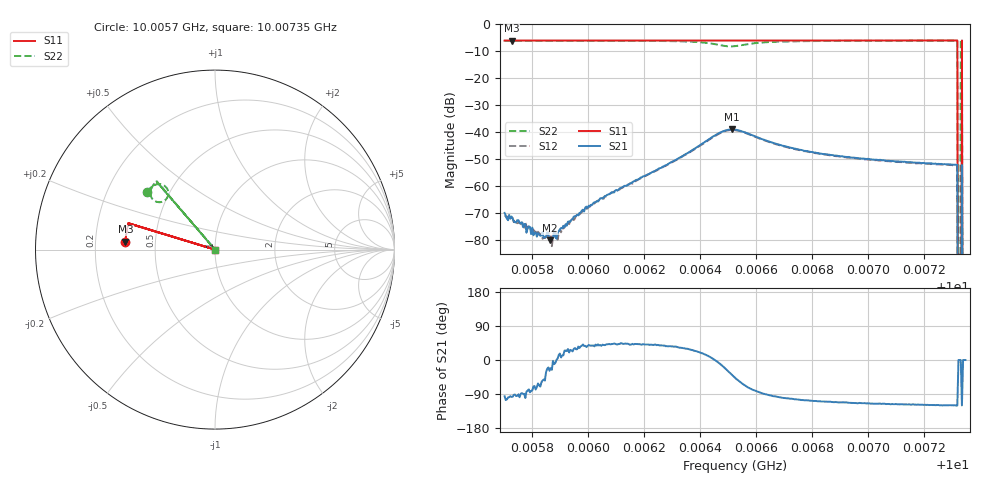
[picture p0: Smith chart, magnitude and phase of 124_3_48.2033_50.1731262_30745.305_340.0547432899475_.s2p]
#  HZ  S  RI  R  50.00
! Rohde & Schwarz Vector Network Analyzer
! Rohde-Schwarz,ZNB20-2Port,1311601062101988,3.16
! Created: UTC 3/20/2024, 11:41:38 AM
! freq[Hz]  re:S11  im:S11  re:S21  im:S21  re:S12  im:S12  re:S22  im:S22
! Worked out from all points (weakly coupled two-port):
!   401 points, 10.0057 GHz to 10.00735 GHz, reference 50 ohm
!   highest |S21| = -38.92 dB at 10.00651 GHz (marker M1); lowest = -80.0 dB at 10.00586 GHz (marker M2)
!   lowest |S11| = -6.0 dB at 10.00573 GHz (marker M3), VSWR 3.01, Z = 16.7 + j1.99 ohm
!   |S11| at or under -10 dB: 10.00732 GHz to 10.00734 GHz (16.3 kHz wide, 0.000163 % of centre); 10.00734 GHz to end of sweep
!   |S22| runs from - to -6.0 dB; largest |S21 - S12| = 0.00068
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1.0005701e10  -0.4992 0.0432  -3.2e-05 -0.000319  -2.93e-05 -0.000286  -0.3812 0.3195
1.0005726e10  -0.499 0.0447  -3.6e-05 -0.000274  -1.36e-06 -0.000258  -0.38 0.3208
1.0005812e10  -0.4987 0.0504  2.91e-05 -0.000136  5.62e-05 -0.000133  -0.3756 0.3263
1.0005845e10  -0.4985 0.0526  6.59e-05 -9.14e-05  8.83e-05 -6.54e-05  -0.3739 0.3284
1.0005862e10  -0.4986 0.0537  8.84e-05 -4.78e-05  8.95e-05 -4.71e-05  -0.373 0.3295
1.0005895e10  -0.4982 0.0558  0.000144 3.49e-05  0.000127 4.02e-05  -0.371 0.3316
1.0005977e10  -0.4978 0.061  0.000282 0.000215  0.000257 0.000208  -0.366 0.3371
1.000608e10  -0.4971 0.0678  0.000558 0.000489  0.000526 0.000516  -0.3587 0.3446
1.0006253e10  -0.4957 0.0791  0.00167 0.00135  0.00155 0.00138  -0.3391 0.3582
1.0006467e10  -0.4929 0.0927  0.00957 -0.00131  0.00938 -0.000817  -0.2611 0.3255
1.0006512e10  -0.4923 0.095  0.00888 -0.00703  0.00903 -0.00639  -0.2782 0.2752
1.0006525e10  -0.4924 0.0956  0.00766 -0.00815  0.00793 -0.00757  -0.2916 0.2674
1.00068e10  -0.4901 0.1133  -0.00131 -0.00412  -0.00111 -0.00407  -0.3557 0.3391
1.0007076e10  -0.4865 0.131  -0.00131 -0.00265  -0.00118 -0.00266  -0.3396 0.3649
1.0007311e10  -0.4828 0.1455  -0.00124 -0.00219  -0.00113 -0.0022  -0.3267 0.3794
1.0007319e10  -0.4826 0.146  -0.00126 -0.00217  -0.00113 -0.00217  -0.3263 0.3798
1.0007323e10  0 0  0 0  0 0  0 0
1.0007327e10  0 0  0 0  0 0  0 0
1.0007332e10  0 0  0 0  0 0  -0.3257 0.3806
1.000734e10  0 0  0 0  0 0  0 0
1.0007344e10  0 0  0 0  0 0  0 0
1.0007348e10  0 0  0 0  0 0  0 0
